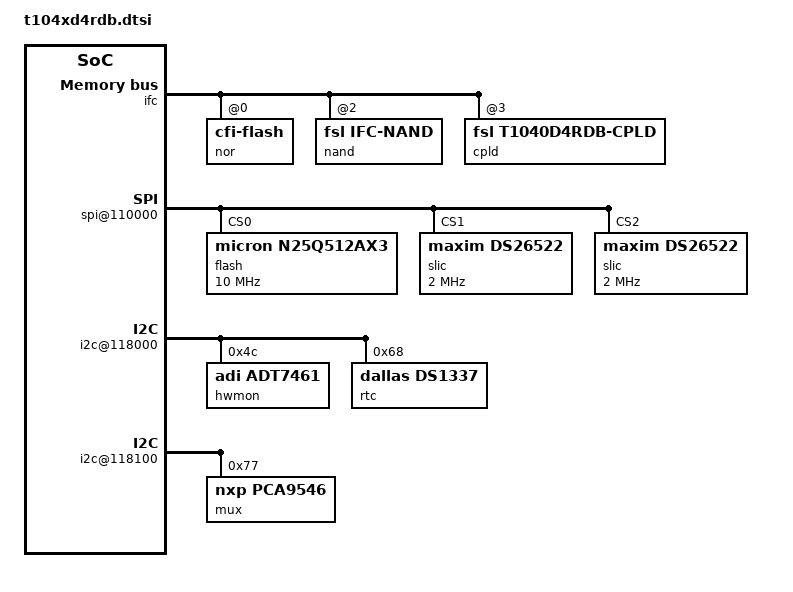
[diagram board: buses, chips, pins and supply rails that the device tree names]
/*
 * T1040D4RDB/T1042D4RDB Device Tree Source
 *
 * Copyright 2015 Freescale Semiconductor Inc.
 *
 * Redistribution and use in source and binary forms, with or without
 * modification, are permitted provided that the following conditions are met:
 *     * Redistributions of source code must retain the above copyright
 *	 notice, this list of conditions and the following disclaimer.
 *     * Redistributions in binary form must reproduce the above copyright
 *	 notice, this list of conditions and the following disclaimer in the
 *	 documentation and/or other materials provided with the distribution.
 *     * Neither the name of Freescale Semiconductor nor the
 *	 names of its contributors may be used to endorse or promote products
 *	 derived from this software without specific prior written permission.
 *
 *
 * ALTERNATIVELY, this software may be distributed under the terms of the
 * GNU General Public License ("GPL") as published by the Free Software
 * Foundation, either version 2 of that License or (at your option) any
 * later version.
 *
 * THIS SOFTWARE IS PROVIDED BY Freescale Semiconductor "AS IS" AND ANY
 * EXPRESS OR IMPLIED WARRANTIES, INCLUDING, BUT NOT LIMITED TO, THE IMPLIED
 * WARRANTIES OF MERCHANTABILITY AND FITNESS FOR A PARTICULAR PURPOSE ARE
 * DISCLAIMED. IN NO EVENT SHALL Freescale Semiconductor BE LIABLE FOR ANY
 * DIRECT, INDIRECT, INCIDENTAL, SPECIAL, EXEMPLARY, OR CONSEQUENTIAL DAMAGES
 * (INCLUDING, BUT NOT LIMITED TO, PROCUREMENT OF SUBSTITUTE GOODS OR SERVICES;
 * LOSS OF USE, DATA, OR PROFITS; OR BUSINESS INTERRUPTION) HOWEVER CAUSED AND
 * ON ANY THEORY OF LIABILITY, WHETHER IN CONTRACT, STRICT LIABILITY, OR TORT
 * (INCLUDING NEGLIGENCE OR OTHERWISE) ARISING IN ANY WAY OUT OF THE USE OF THIS
 * SOFTWARE, EVEN IF ADVISED OF THE POSSIBILITY OF SUCH DAMAGE.
 */

/ {
	reserved-memory {
		#address-cells = <2>;
		#size-cells = <2>;
		ranges;

		bman_fbpr: bman-fbpr {
			size = <0 0x1000000>;
			alignment = <0 0x1000000>;
		};
		qman_fqd: qman-fqd {
			size = <0 0x400000>;
			alignment = <0 0x400000>;
		};
		qman_pfdr: qman-pfdr {
			size = <0 0x2000000>;
			alignment = <0 0x2000000>;
		};
	};

	ifc: localbus@ffe124000 {
		reg = <0xf 0xfe124000 0 0x2000>;
		ranges = <0 0 0xf 0xe8000000 0x08000000
			  2 0 0xf 0xff800000 0x00010000
			  3 0 0xf 0xffdf0000 0x00008000>;

		nor@0,0 {
			#address-cells = <1>;
			#size-cells = <1>;
			compatible = "cfi-flash";
			reg = <0x0 0x0 0x8000000>;
			bank-width = <2>;
			device-width = <1>;
		};

		nand@2,0 {
			#address-cells = <1>;
			#size-cells = <1>;
			compatible = "fsl,ifc-nand";
			reg = <0x2 0x0 0x10000>;
		};

		cpld@3,0 {
			compatible = "fsl,t1040d4rdb-cpld";
			reg = <3 0 0x300>;
		};
	};

	memory {
		device_type = "memory";
	};

	dcsr: dcsr@f00000000 {
		ranges = <0x00000000 0xf 0x00000000 0x01072000>;
	};

	bportals: bman-portals@ff4000000 {
		ranges = <0x0 0xf 0xf4000000 0x2000000>;
	};

	qportals: qman-portals@ff6000000 {
		ranges = <0x0 0xf 0xf6000000 0x2000000>;
	};

	soc: soc@ffe000000 {
		ranges = <0x00000000 0xf 0xfe000000 0x1000000>;
		reg = <0xf 0xfe000000 0 0x00001000>;

		spi@110000 {
			flash@0 {
				#address-cells = <1>;
				#size-cells = <1>;
				compatible = "micron,n25q512ax3", "jedec,spi-nor";
				reg = <0>;
				/* input clock */
				spi-max-frequency = <10000000>;
			};
			slic@1 {
				compatible = "maxim,ds26522";
				reg = <1>;
				spi-max-frequency = <2000000>; /* input clock */
			};
			slic@2 {
				compatible = "maxim,ds26522";
				reg = <2>;
				spi-max-frequency = <2000000>; /* input clock */
			};
		};
		i2c@118000 {
			hwmon@4c {
				compatible = "adi,adt7461";
				reg = <0x4c>;
			};

			rtc@68 {
				compatible = "dallas,ds1337";
				reg = <0x68>;
				interrupts = <0x2 0x1 0 0>;
			};
		};

		i2c@118100 {
			mux@77 {
				/*
				 * Child nodes of mux depend on which i2c
				 * devices are connected via the mini PCI
				 * connector slot1, the mini PCI connector
				 * slot2, the HDMI connector, and the PEX
				 * slot. Systems with such devices attached
				 * should provide a wrapper .dts file that
				 * includes this one, and adds those nodes
				 */
				compatible = "nxp,pca9546";
				reg = <0x77>;
				#address-cells = <1>;
				#size-cells = <0>;
			};
		};

	};

	pci0: pcie@ffe240000 {
		reg = <0xf 0xfe240000 0 0x10000>;
		ranges = <0x02000000 0 0xe0000000 0xc 0x0 0x0 0x10000000
			  0x01000000 0 0x0 0xf 0xf8000000 0x0 0x00010000>;
		pcie@0 {
			ranges = <0x02000000 0 0xe0000000
				  0x02000000 0 0xe0000000
				  0 0x10000000

				  0x01000000 0 0x00000000
				  0x01000000 0 0x00000000
				  0 0x00010000>;
		};
	};

	pci1: pcie@ffe250000 {
		reg = <0xf 0xfe250000 0 0x10000>;
		ranges = <0x02000000 0 0xe0000000 0xc 0x10000000 0 0x10000000
			  0x01000000 0 0 0xf 0xf8010000 0 0x00010000>;
		pcie@0 {
			ranges = <0x02000000 0 0xe0000000
				  0x02000000 0 0xe0000000
				  0 0x10000000

				  0x01000000 0 0x00000000
				  0x01000000 0 0x00000000
				  0 0x00010000>;
		};
	};

	pci2: pcie@ffe260000 {
		reg = <0xf 0xfe260000 0 0x10000>;
		ranges = <0x02000000 0 0xe0000000 0xc 0x20000000 0 0x10000000
			  0x01000000 0 0x00000000 0xf 0xf8020000 0 0x00010000>;
		pcie@0 {
			ranges = <0x02000000 0 0xe0000000
				  0x02000000 0 0xe0000000
				  0 0x10000000

				  0x01000000 0 0x00000000
				  0x01000000 0 0x00000000
				  0 0x00010000>;
		};
	};

	pci3: pcie@ffe270000 {
		reg = <0xf 0xfe270000 0 0x10000>;
		ranges = <0x02000000 0 0xe0000000 0xc 0x30000000 0 0x10000000
			  0x01000000 0 0x00000000 0xf 0xf8030000 0 0x00010000>;
		pcie@0 {
			ranges = <0x02000000 0 0xe0000000
				  0x02000000 0 0xe0000000
				  0 0x10000000

				  0x01000000 0 0x00000000
				  0x01000000 0 0x00000000
				  0 0x00010000>;
		};
	};
};
